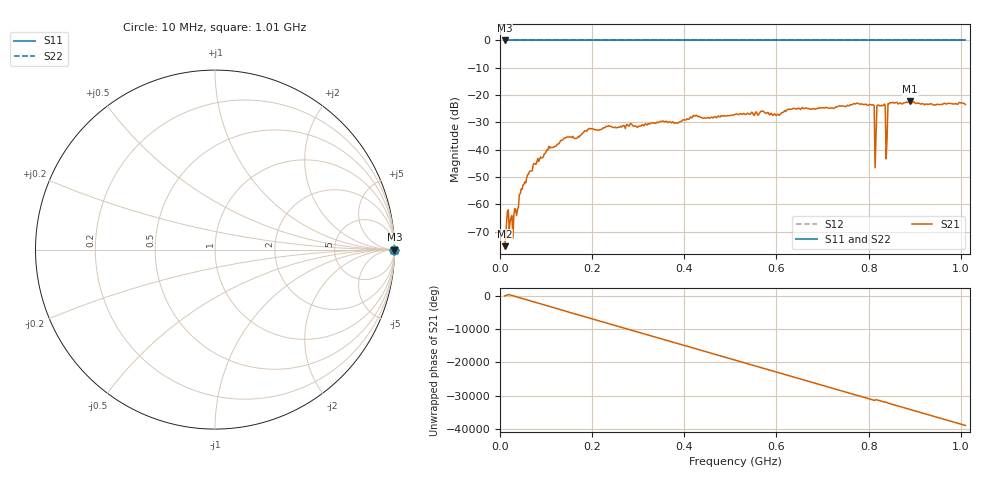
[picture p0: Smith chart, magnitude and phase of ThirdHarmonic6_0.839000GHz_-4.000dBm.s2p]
! 8/16/2025 3:48:43 AM
! C:\ANRITSUVNA\TEMP\TEMP.S2P
! CHANNEL.1
! TR.MEASUREMENT
! RAW.DATA
! RF.CORRECTION.OFF
! AVERAGING.OFF
! IF.BANDWIDTH: 5KHZ
! SWEEPTYPE:  FREQ.SWEEP(Linear)
! Reference Plane Port Info
! PORT:  PORT1  PORT2
! DISTANCE:  0  m  0  m
! TIME:  0  s  0  s
! PHASE.OFFSET:  0  deg.  0  deg.
! LOSS:  0  dB  0  dB
! REF.LOSS:  0  dB  0  dB
! REF.FREQ:  0  Hz  0  Hz
! Power Info
! POWER:  -20  dBm  -20  dBm
! EFF.POWER:  -20  dBm  -20  dBm
! SOURCE.ATTEN:  0  dB  0  dB
! TEST.ATTEN:  0  dB  0  dB
# GHZ S RI R 50.0
! FREQ.GHZ  S11RE  S11IM  S21RE  S21IM  S12RE  S12IM  S22RE  S22IM
!; PortSelection: Port_12
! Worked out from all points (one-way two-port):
!   501 points, 10 MHz to 1.01 GHz, reference 50 ohm
!   highest |S21| = -22.32 dB at 890 MHz (marker M1); lowest = -75.3 dB at 10 MHz (marker M2)
!   lowest |S11| = 0.0 dB at 10 MHz (marker M3)
!   |S11| at or under -10 dB: nowhere
!   |S22| runs from 0.0 to 0.0 dB; largest |S21 - S12| = 1.1
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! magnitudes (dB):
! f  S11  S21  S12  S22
! 10 MHz  0.0  -75.3  0.0  0.0
! 18 MHz  0.0  -62.0  0.0  0.0
! 32 MHz  0.0  -61.5  0.0  0.0
! 46 MHz  0.0  -54.3  0.0  0.0
! 78 MHz  0.0  -45.4  0.0  0.0
! 136 MHz  0.0  -36.5  0.0  0.0
! 178 MHz  0.0  -34.2  0.0  0.0
! 344 MHz  0.0  -30.1  0.0  0.0
! 510 MHz  0.0  -27.1  0.0  0.0
! 678 MHz  0.0  -25.2  0.0  0.0
! 806 MHz  0.0  -23.6  0.0  0.0
! 808 MHz  0.0  -23.6  0.0  0.0
! 812 MHz  0.0  -23.9  0.0  0.0
! 816 MHz  0.0  -35.6  0.0  0.0
! 822 MHz  0.0  -23.7  0.0  0.0
! 832 MHz  0.0  -23.7  0.0  0.0
! 836 MHz  0.0  -23.9  0.0  0.0
! 842 MHz  0.0  -23.2  0.0  0.0
! 844 MHz  0.0  -23.2  0.0  0.0
! 846 MHz  0.0  -22.8  0.0  0.0
! 890 MHz  0.0  -22.3  0.0  0.0
! 1.01 GHz  0.0  -23.4  0.0  0.0
